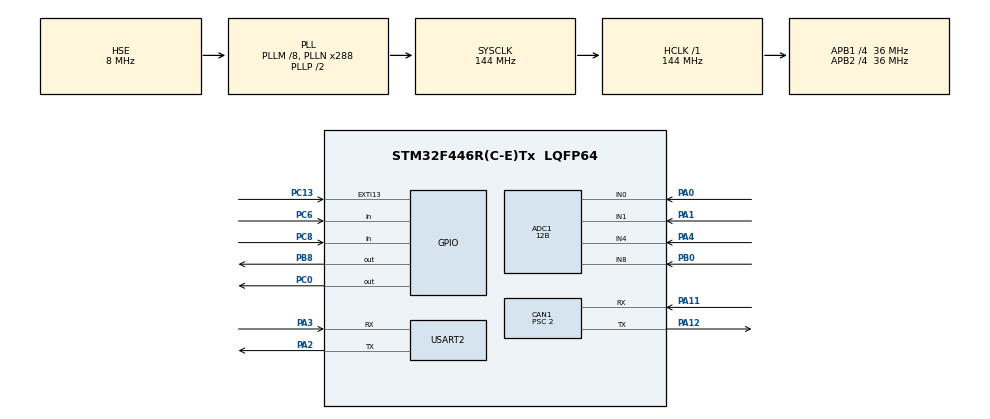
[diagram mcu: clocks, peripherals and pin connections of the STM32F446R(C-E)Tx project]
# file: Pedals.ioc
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Mcu.Family=STM32F4
NVIC.CAN1_RX1_IRQn=true\:0\:0\:false\:true\:true\:4\:true\:true
PH0-OSC_IN.Signal=RCC_OSC_IN
RCC.CortexFreq_Value=144000000
CAN1.AutoWakeUp=ENABLE
ADC1.ContinuousConvMode=ENABLE
CAN1.AWUM=ENABLE
PA11.Mode=Master
PA11.GPIO_PuPd=GPIO_PULLUP
RCC.SYSCLKSource=RCC_SYSCLKSOURCE_PLLCLK
ProjectManager.StackSize=0x400
VP_TIM7_VS_ClockSourceINT.Mode=Enable_Timer
NVIC.ADC_IRQn=true\:0\:0\:false\:true\:true\:1\:true\:true
PA12.Signal=CAN1_TX
NVIC.CAN1_TX_IRQn=true\:0\:0\:false\:true\:true\:2\:true\:true
RCC.HCLKFreq_Value=144000000
ADC1.Resolution=ADC_RESOLUTION_12B
RCC.APB2TimFreq_Value=72000000
TIM3.Period=1000
Dma.ADC1.0.Direction=DMA_PERIPH_TO_MEMORY
ADC1.Channel-2\#ChannelRegularConversion=ADC_CHANNEL_8
ADC1.InjNumberOfConversion=0
TIM7.Period=1000
NVIC.DMA2_Stream0_IRQn=true\:0\:0\:false\:false\:true\:false\:true
NVIC.CAN1_SCE_IRQn=true\:0\:0\:false\:true\:true\:5\:true\:true
Dma.ADC1.0.MemDataAlignment=DMA_MDATAALIGN_WORD
RCC.AHBFreq_Value=144000000
PH0-OSC_IN.Mode=HSE-External-Clock-Source
NVIC.EXTI15_10_IRQn=true\:0\:0\:false\:false\:true\:true\:true
ADC1.Channel-0\#ChannelRegularConversion=ADC_CHANNEL_0
RCC.HSE_VALUE=8000000
ADC1.ScanConvMode=ENABLE
ADC1.SamplingTime-4\#ChannelRegularConversion=ADC_SAMPLETIME_480CYCLES
ADC1.Rank-2\#ChannelRegularConversion=3
TIM3.Prescaler=42666
Dma.ADC1.0.PeriphInc=DMA_PINC_DISABLE
SH.ADCx_IN8.0=ADC1_IN8,IN8
SH.ADCx_IN0.0=ADC1_IN0,IN0
ADC1.SamplingTime-0\#ChannelRegularConversion=ADC_SAMPLETIME_480CYCLES
PH1-OSC_OUT.Mode=HSE-External-Clock-Source
CAN1.Prescaler=2
Mcu.Package=LQFP64
USART2.VirtualMode=VM_ASYNC
PC6.GPIO_PuPd=GPIO_PULLUP
RCC.APB2CLKDivider=RCC_HCLK_DIV4
SH.ADCx_IN1.0=ADC1_IN1,IN1
RCC.APB1TimFreq_Value=72000000
Dma.ADC1.0.FIFOMode=DMA_FIFOMODE_DISABLE
Dma.Request0=ADC1
CAN1.CalculateTimeBit=1000
ADC1.EOCSelection=ADC_EOC_SINGLE_CONV
NVIC.TIM7_IRQn=true\:0\:0\:false\:true\:true\:7\:true\:true
VP_TIM3_VS_ClockSourceINT.Mode=Internal
ADC1.Rank-4\#ChannelRegularConversion=4
PA3.Signal=USART2_RX
CAN1.CalculateTimeQuantum=55.55555555555556
RCC.PLLSourceVirtual=RCC_PLLSOURCE_HSE
Dma.ADC1.0.Instance=DMA2_Stream0
ADC1.Rank-0\#ChannelRegularConversion=1
ADC1.Channel-4\#ChannelRegularConversion=ADC_CHANNEL_4
PC13.Signal=GPXTI13
PC8.Signal=GPIO_Input
PC6.Signal=GPIO_Input
ADC1.DiscontinuousConvMode=DISABLE
ADC1.ExternalTrigConvEdge=ADC_EXTERNALTRIGCONVEDGE_NONE
PC0.Signal=GPIO_Output
RCC.APB1CLKDivider=RCC_HCLK_DIV4
ADC1.SamplingTime-2\#ChannelRegularConversion=ADC_SAMPLETIME_480CYCLES
PA0-WKUP.Signal=ADCx_IN0
PA3.Mode=Asynchronous
Dma.ADC1.0.PeriphDataAlignment=DMA_PDATAALIGN_WORD
CAN1.BS2=CAN_BS2_5TQ
CAN1.BS1=CAN_BS1_12TQ
ProjectManager.TargetToolchain=Makefile
Dma.ADC1.0.Mode=DMA_CIRCULAR
Dma.ADC1.0.Priority=DMA_PRIORITY_MEDIUM
ADC1.Channel-1\#ChannelRegularConversion=ADC_CHANNEL_1
RCC.USBFreq_Value=144000000
PA1.Signal=ADCx_IN1
TIM7.Prescaler=72
board=Pedals
RCC.VCOOutputFreq_Value=288000000
NVIC.TIM3_IRQn=true\:0\:0\:false\:true\:true\:6\:true\:true
ADC1.EnableAnalogWatchDog=false
RCC.APB2Freq_Value=36000000
PH1-OSC_OUT.Signal=RCC_OSC_OUT
SH.ADCx_IN4.0=ADC1_IN4,IN4
CAN1.TimeSeg1=CAN_BS1_12TQ
CAN1.TimeSeg2=CAN_BS2_5TQ
ADC1.DMAContinuousRequests=ENABLE
ADC1.NbrOfConversion=4
Mcu.Name=STM32F446R(C-E)Tx
PA2.Signal=USART2_TX
ADC1.ExternalTrigConv=ADC_SOFTWARE_START
PA4.Signal=ADCx_IN4
ADC1.SamplingTime-1\#ChannelRegularConversion=ADC_SAMPLETIME_480CYCLES
RCC.SYSCLKFreq_VALUE=144000000
ADC1.master=1
PA12.Mode=Master
ADC1.Rank-1\#ChannelRegularConversion=2
PA11.Signal=CAN1_RX
Dma.ADC1.0.MemInc=DMA_MINC_ENABLE
ProjectManager.HeapSize=0x200
NVIC.PriorityGroup=NVIC_PRIORITYGROUP_4
ADC1.NbrOfConversionFlag=1
RCC.PLLM=8
RCC.PLLN=288
PB8.Signal=GPIO_Output
PA2.Mode=Asynchronous
ADC1.DataAlign=ADC_DATAALIGN_RIGHT
RCC.APB1Freq_Value=36000000
PB0.Signal=ADCx_IN8
ADC1.ClockPrescaler=ADC_CLOCK_SYNC_PCLK_DIV2
NVIC.CAN1_RX0_IRQn=true\:0\:0\:false\:true\:true\:3\:true\:true

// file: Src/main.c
/* USER CODE BEGIN Header */
/**
  ******************************************************************************
  * @file           : main.c
  * @brief          : Main program body
  ******************************************************************************
  * @attention
  *
  * <h2><center>&copy; Copyright (c) 2019 STMicroelectronics.
  * All rights reserved.</center></h2>
  *
  * This software component is licensed by ST under BSD 3-Clause license,
  * the "License"; You may not use this file except in compliance with the
  * License. You may obtain a copy of the License at:
  *                        opensource.org/licenses/BSD-3-Clause
  *
  ******************************************************************************
  */
/* USER CODE END Header */

#include "main.h"

/* USER CODE BEGIN Includes */
#include "stm32f4xx_hal_gpio.h"
#include "Eagle_TRT.h"
#include "stm32f4xx_it.h"
#include <string.h>
#include <math.h>
#include <stdlib.h>
#include <inttypes.h>
/* USER CODE END Includes */

ADC_HandleTypeDef hadc1;
DMA_HandleTypeDef hdma_adc1;

CAN_HandleTypeDef hcan1;

TIM_HandleTypeDef htim3;
TIM_HandleTypeDef htim7;

UART_HandleTypeDef huart2;

/* USER CODE BEGIN PV */
/* Private variables ---------------------------------------------------------*/

#define DEGUB 1
#define DEBUG_DELAY 400

extern pot_stc pot_1;
extern pot_stc pot_2;
extern pot_stc pot_3;
extern pot_stc pot_4;
extern can_stc can;

int val0_100, val1_100, val2_100, Error, SCS, SCS1, SCS_Send, SCS_Send_real, Time1, Time2, fake_i, check, flag;
int fake_min0 = 60000, fake_max0 = 0;
int fake_min1 = 60000, fake_max1 = 0;

uint32_t valMax0, valMin0, valMax1, valMin1, valMax2, valMin2, val0rang, val1rang, val2rang;
uint32_t ADC_buffer[4], val[4];

uint8_t conv_compleated = 0;

CAN_FilterTypeDef sFilter;

uint8_t CheckControl[4];

char txt[500];

int pc6 = 0;

int command_flag = 0;

int steer_wheel_prescaler;

uint16_t sample_counter = 0;
uint16_t sample_per_sec = 0;

/* USER CODE END PV */

void SystemClock_Config(void);
static void MX_GPIO_Init(void);
static void MX_DMA_Init(void);
static void MX_USART2_UART_Init(void);
static void MX_ADC1_Init(void);
static void MX_TIM3_Init(void);
static void MX_CAN1_Init(void);
static void MX_TIM7_Init(void);
static void MX_NVIC_Init(void);
/* USER CODE BEGIN PFP */
/* Private function prototypes -----------------------------------------------*/

/* USER CODE END PFP */

/* USER CODE BEGIN 0 */
void HAL_ADC_ConvCpltCallback(ADC_HandleTypeDef *hadc)
{
  pot_1.val = ADC_buffer[0];
  pot_2.val = ADC_buffer[1];
  pot_3.val = ADC_buffer[2];
  pot_4.val = ADC_buffer[3];

  conv_compleated = 1;
}
void print_Max_Min()
{
  if (fake_min0 >= pot_1.val)
  {
    fake_min0 = pot_1.val;
  }
  if (fake_max0 <= pot_1.val)
  {
    fake_max0 = pot_1.val;
  }
  if (fake_min1 >= pot_2.val)
  {
    fake_min1 = pot_2.val;
  }
  if (fake_max1 <= pot_2.val)
  {
    fake_max1 = pot_2.val;
  }
  sprintf(txt, "valMIN0 = %d valMAX0 = %d \t valMIN1 = %d valMAX1 = %d val0 = %d val1 = %d val0_100 = %d val1_100 = %d \r\n", fake_min0, fake_max0, fake_min1, fake_max1, (int)pot_1.val, (int)pot_2.val, (int)pot_1.val_100, (int)pot_2.val_100);
  HAL_UART_Transmit(&huart2, (uint8_t *)txt, strlen(txt), 10);
}

/* USER CODE END 0 */

int main(void)
{
  /* USER CODE BEGIN 1 */

  val[1] = 0;

  Error = 0;

  CheckControl[0] = 0;
  CheckControl[1] = 0;
  CheckControl[2] = 0;
  CheckControl[3] = 0;

  /* USER CODE END 1 */

  /* MCU Configuration--------------------------------------------------------*/

  /* Reset of all peripherals, Initializes the Flash interface and the Systick. */
  HAL_Init();

  /* Configure the system clock */
  SystemClock_Config();

  /* Initialize all configured peripherals */
  MX_GPIO_Init();
  MX_DMA_Init();
  MX_USART2_UART_Init();
  MX_ADC1_Init();
  MX_TIM3_Init();
  MX_CAN1_Init();
  MX_TIM7_Init();

  /* Initialize interrupts */
  MX_NVIC_Init();
  /* USER CODE BEGIN 2 */

  sFilter.FilterMode = CAN_FILTERMODE_IDMASK;
  sFilter.FilterIdLow = 0;
  sFilter.FilterIdHigh = 0;
  sFilter.FilterMaskIdHigh = 0;
  sFilter.FilterMaskIdLow = 0;
  sFilter.FilterFIFOAssignment = CAN_FILTER_FIFO0;
  sFilter.FilterBank = 0;
  sFilter.FilterScale = CAN_FILTERSCALE_16BIT;
  sFilter.FilterActivation = ENABLE;
  HAL_CAN_ConfigFilter(&hcan1, &sFilter);

  HAL_CAN_Start(&hcan1);

  HAL_CAN_ActivateNotification(&hcan1, CAN1_RX0_IRQn);
  HAL_CAN_ActivateNotification(&hcan1, CAN1_RX1_IRQn);

  HAL_TIM_Base_Start(&htim3);
  HAL_TIM_Base_Start(&htim7);
  HAL_TIM_Base_Start_IT(&htim7);

  pot_1.TimerInstance = &htim3;
  can.hcan = &hcan1;

  steer_wheel_prescaler = 0;

  //HAL_TIM_Base_Start(&htim2);
  pot_1.max = 2670;
  pot_1.min = 2400; //released
  pot_1.range = abs(pot_1.max - pot_1.min);
  pot_2.max = 802;
  pot_2.min = 575; //released
  pot_2.range = abs(pot_2.max - pot_2.min);

  // Brake pressure sensor value ranges:
  // Aviorace SP100
  //  409.6 -> 0 bar
  //  3686.4 -> 100 bar
  //  3276.8 -> 0_____100 bar
  pot_3.min = 410;
  pot_3.max = 4096;
  pot_3.range = abs(pot_3.max - pot_3.min);
  pot_4.min = 410;
  pot_4.max = 4096;
  pot_4.range = abs(pot_4.max - pot_4.min);

  check = 0;
  fake_i = 0;

  /* USER CODE END 2 */

  /* Infinite loop */
  /* USER CODE BEGIN WHILE */
  uint32_t tick = HAL_GetTick();
  uint32_t previous_millis = tick;
  while (1)
  {
    /* USER CODE END WHILE */

    /* USER CODE BEGIN 3 */

    tick = HAL_GetTick();

    //SCS = 0;
    SCS_Send = 0;
    SCS_Send_real = 0;

    if(conv_compleated){
        calc_pot_value(&pot_1);
        calc_pot_value(&pot_2);
        calc_pot_value(&pot_3);
        calc_pot_value(&pot_4);
        conv_compleated = 0;
    }

    // If CAN is free from important messages, send data
    if (previous_millis != tick)
    {
      send_CAN_data(tick);
      previous_millis = tick;

      // Getting if breaking
      // Activate brake LED
      if (HAL_GPIO_ReadPin(GPIOC, GPIO_PIN_6) == GPIO_PIN_SET)
      {
        pc6 = 100;
        HAL_GPIO_WritePin(GPIOC, GPIO_PIN_0, GPIO_PIN_SET);
      }
      else
      {
        pc6 = 0;
        HAL_GPIO_WritePin(GPIOC, GPIO_PIN_0, GPIO_PIN_RESET);
      }

      if(DEGUB){
        if(tick % 1000 == 0){
          sample_per_sec = sample_counter;
          sample_counter = 0;
        }
        if(tick % DEBUG_DELAY == 0){
          full_debug();
        }
      }
    }

  }

  /* USER CODE END 3 */
}

void SystemClock_Config(void)
{
  RCC_OscInitTypeDef RCC_OscInitStruct = {0};
  RCC_ClkInitTypeDef RCC_ClkInitStruct = {0};

  /** Configure the main internal regulator output voltage
  */
  __HAL_RCC_PWR_CLK_ENABLE();
  __HAL_PWR_VOLTAGESCALING_CONFIG(PWR_REGULATOR_VOLTAGE_SCALE1);
  /** Initializes the CPU, AHB and APB busses clocks
  */
  RCC_OscInitStruct.OscillatorType = RCC_OSCILLATORTYPE_HSE;
  RCC_OscInitStruct.HSEState = RCC_HSE_BYPASS;
  RCC_OscInitStruct.PLL.PLLState = RCC_PLL_ON;
  RCC_OscInitStruct.PLL.PLLSource = RCC_PLLSOURCE_HSE;
  RCC_OscInitStruct.PLL.PLLM = 8;
  RCC_OscInitStruct.PLL.PLLN = 288;
  RCC_OscInitStruct.PLL.PLLP = RCC_PLLP_DIV2;
  RCC_OscInitStruct.PLL.PLLQ = 2;
  RCC_OscInitStruct.PLL.PLLR = 2;
  if (HAL_RCC_OscConfig(&RCC_OscInitStruct) != HAL_OK)
  {
    Error_Handler();
  }
  /** Initializes the CPU, AHB and APB busses clocks
  */
  RCC_ClkInitStruct.ClockType = RCC_CLOCKTYPE_HCLK|RCC_CLOCKTYPE_SYSCLK
                              |RCC_CLOCKTYPE_PCLK1|RCC_CLOCKTYPE_PCLK2;
  RCC_ClkInitStruct.SYSCLKSource = RCC_SYSCLKSOURCE_PLLCLK;
  RCC_ClkInitStruct.AHBCLKDivider = RCC_SYSCLK_DIV1;
  RCC_ClkInitStruct.APB1CLKDivider = RCC_HCLK_DIV4;
  RCC_ClkInitStruct.APB2CLKDivider = RCC_HCLK_DIV4;

  if (HAL_RCC_ClockConfig(&RCC_ClkInitStruct, FLASH_LATENCY_4) != HAL_OK)
  {
    Error_Handler();
  }
}

/**
  * @brief NVIC Configuration.
  * @retval None
  */
static void MX_NVIC_Init(void)
{
  /* ADC_IRQn interrupt configuration */
  HAL_NVIC_SetPriority(ADC_IRQn, 0, 0);
  HAL_NVIC_EnableIRQ(ADC_IRQn);
  /* CAN1_TX_IRQn interrupt configuration */
  HAL_NVIC_SetPriority(CAN1_TX_IRQn, 0, 0);
  HAL_NVIC_EnableIRQ(CAN1_TX_IRQn);
  /* CAN1_RX0_IRQn interrupt configuration */
  HAL_NVIC_SetPriority(CAN1_RX0_IRQn, 0, 0);
  HAL_NVIC_EnableIRQ(CAN1_RX0_IRQn);
  /* CAN1_RX1_IRQn interrupt configuration */
  HAL_NVIC_SetPriority(CAN1_RX1_IRQn, 0, 0);
  HAL_NVIC_EnableIRQ(CAN1_RX1_IRQn);
  /* CAN1_SCE_IRQn interrupt configuration */
  HAL_NVIC_SetPriority(CAN1_SCE_IRQn, 0, 0);
  HAL_NVIC_EnableIRQ(CAN1_SCE_IRQn);
  /* TIM3_IRQn interrupt configuration */
  HAL_NVIC_SetPriority(TIM3_IRQn, 0, 0);
  HAL_NVIC_EnableIRQ(TIM3_IRQn);
  /* TIM7_IRQn interrupt configuration */
  HAL_NVIC_SetPriority(TIM7_IRQn, 0, 0);
  HAL_NVIC_EnableIRQ(TIM7_IRQn);
}

static void MX_ADC1_Init(void)
{

  ADC_ChannelConfTypeDef sConfig = {0};

  /** Configure the global features of the ADC (Clock, Resolution, Data Alignment and number of conversion)
  */
  hadc1.Instance = ADC1;
  hadc1.Init.ClockPrescaler = ADC_CLOCK_SYNC_PCLK_DIV2;
  hadc1.Init.Resolution = ADC_RESOLUTION_12B;
  hadc1.Init.ScanConvMode = ENABLE;
  hadc1.Init.ContinuousConvMode = ENABLE;
  hadc1.Init.DiscontinuousConvMode = DISABLE;
  hadc1.Init.ExternalTrigConvEdge = ADC_EXTERNALTRIGCONVEDGE_NONE;
  hadc1.Init.ExternalTrigConv = ADC_SOFTWARE_START;
  hadc1.Init.DataAlign = ADC_DATAALIGN_RIGHT;
  hadc1.Init.NbrOfConversion = 4;
  hadc1.Init.DMAContinuousRequests = ENABLE;
  hadc1.Init.EOCSelection = ADC_EOC_SINGLE_CONV;
  if (HAL_ADC_Init(&hadc1) != HAL_OK)
  {
    Error_Handler();
  }
  /** Configure for the selected ADC regular channel its corresponding rank in the sequencer and its sample time.
  */
  sConfig.Channel = ADC_CHANNEL_0;
  sConfig.Rank = 1;
  sConfig.SamplingTime = ADC_SAMPLETIME_480CYCLES;
  if (HAL_ADC_ConfigChannel(&hadc1, &sConfig) != HAL_OK)
  {
    Error_Handler();
  }
  /** Configure for the selected ADC regular channel its corresponding rank in the sequencer and its sample time.
  */
  sConfig.Channel = ADC_CHANNEL_1;
  sConfig.Rank = 2;
  if (HAL_ADC_ConfigChannel(&hadc1, &sConfig) != HAL_OK)
  {
    Error_Handler();
  }
  /** Configure for the selected ADC regular channel its corresponding rank in the sequencer and its sample time.
  */
  sConfig.Channel = ADC_CHANNEL_8;
  sConfig.Rank = 3;
  if (HAL_ADC_ConfigChannel(&hadc1, &sConfig) != HAL_OK)
  {
    Error_Handler();
  }
  /** Configure for the selected ADC regular channel its corresponding rank in the sequencer and its sample time.
  */
  sConfig.Channel = ADC_CHANNEL_4;
  sConfig.Rank = 4;
  if (HAL_ADC_ConfigChannel(&hadc1, &sConfig) != HAL_OK)
  {
    Error_Handler();
  }

}

static void MX_CAN1_Init(void)
{

  hcan1.Instance = CAN1;
  hcan1.Init.Prescaler = 2;
  hcan1.Init.Mode = CAN_MODE_NORMAL;
  hcan1.Init.SyncJumpWidth = CAN_SJW_1TQ;
  hcan1.Init.TimeSeg1 = CAN_BS1_12TQ;
  hcan1.Init.TimeSeg2 = CAN_BS2_5TQ;
  hcan1.Init.TimeTriggeredMode = DISABLE;
  hcan1.Init.AutoBusOff = DISABLE;
  hcan1.Init.AutoWakeUp = ENABLE;
  hcan1.Init.AutoRetransmission = DISABLE;
  hcan1.Init.ReceiveFifoLocked = DISABLE;
  hcan1.Init.TransmitFifoPriority = DISABLE;
  if (HAL_CAN_Init(&hcan1) != HAL_OK)
  {
    Error_Handler();
  }

}

static void MX_TIM3_Init(void)
{

  TIM_ClockConfigTypeDef sClockSourceConfig = {0};
  TIM_MasterConfigTypeDef sMasterConfig = {0};

  htim3.Instance = TIM3;
  htim3.Init.Prescaler = 42666;
  htim3.Init.CounterMode = TIM_COUNTERMODE_UP;
  htim3.Init.Period = 1000;
  htim3.Init.ClockDivision = TIM_CLOCKDIVISION_DIV1;
  htim3.Init.AutoReloadPreload = TIM_AUTORELOAD_PRELOAD_DISABLE;
  if (HAL_TIM_Base_Init(&htim3) != HAL_OK)
  {
    Error_Handler();
  }
  sClockSourceConfig.ClockSource = TIM_CLOCKSOURCE_INTERNAL;
  if (HAL_TIM_ConfigClockSource(&htim3, &sClockSourceConfig) != HAL_OK)
  {
    Error_Handler();
  }
  sMasterConfig.MasterOutputTrigger = TIM_TRGO_RESET;
  sMasterConfig.MasterSlaveMode = TIM_MASTERSLAVEMODE_DISABLE;
  if (HAL_TIMEx_MasterConfigSynchronization(&htim3, &sMasterConfig) != HAL_OK)
  {
    Error_Handler();
  }

}

static void MX_TIM7_Init(void)
{

  TIM_MasterConfigTypeDef sMasterConfig = {0};

  htim7.Instance = TIM7;
  htim7.Init.Prescaler = 72;
  htim7.Init.CounterMode = TIM_COUNTERMODE_UP;
  htim7.Init.Period = 1000;
  htim7.Init.AutoReloadPreload = TIM_AUTORELOAD_PRELOAD_DISABLE;
  if (HAL_TIM_Base_Init(&htim7) != HAL_OK)
  {
    Error_Handler();
  }
  sMasterConfig.MasterOutputTrigger = TIM_TRGO_RESET;
  sMasterConfig.MasterSlaveMode = TIM_MASTERSLAVEMODE_DISABLE;
  if (HAL_TIMEx_MasterConfigSynchronization(&htim7, &sMasterConfig) != HAL_OK)
  {
    Error_Handler();
  }

}

static void MX_USART2_UART_Init(void)
{

  huart2.Instance = USART2;
  huart2.Init.BaudRate = 115200;
  huart2.Init.WordLength = UART_WORDLENGTH_8B;
  huart2.Init.StopBits = UART_STOPBITS_1;
  huart2.Init.Parity = UART_PARITY_NONE;
  huart2.Init.Mode = UART_MODE_TX_RX;
  huart2.Init.HwFlowCtl = UART_HWCONTROL_NONE;
  huart2.Init.OverSampling = UART_OVERSAMPLING_16;
  if (HAL_UART_Init(&huart2) != HAL_OK)
  {
    Error_Handler();
  }

}

static void MX_DMA_Init(void)
{

  /* DMA controller clock enable */
  __HAL_RCC_DMA2_CLK_ENABLE();

  /* DMA interrupt init */
  /* DMA2_Stream0_IRQn interrupt configuration */
  HAL_NVIC_SetPriority(DMA2_Stream0_IRQn, 0, 0);
  HAL_NVIC_EnableIRQ(DMA2_Stream0_IRQn);

}

static void MX_GPIO_Init(void)
{
  GPIO_InitTypeDef GPIO_InitStruct = {0};

  /* GPIO Ports Clock Enable */
  __HAL_RCC_GPIOC_CLK_ENABLE();
  __HAL_RCC_GPIOH_CLK_ENABLE();
  __HAL_RCC_GPIOA_CLK_ENABLE();
  __HAL_RCC_GPIOB_CLK_ENABLE();

  /*Configure GPIO pin Output Level */
  HAL_GPIO_WritePin(GPIOC, GPIO_PIN_0, GPIO_PIN_RESET);

  /*Configure GPIO pin Output Level */
  HAL_GPIO_WritePin(GPIOB, GPIO_PIN_8, GPIO_PIN_RESET);

  /*Configure GPIO pin : PC13 */
  GPIO_InitStruct.Pin = GPIO_PIN_13;
  GPIO_InitStruct.Mode = GPIO_MODE_IT_RISING;
  GPIO_InitStruct.Pull = GPIO_NOPULL;
  HAL_GPIO_Init(GPIOC, &GPIO_InitStruct);

  /*Configure GPIO pin : PC0 */
  GPIO_InitStruct.Pin = GPIO_PIN_0;
  GPIO_InitStruct.Mode = GPIO_MODE_OUTPUT_PP;
  GPIO_InitStruct.Pull = GPIO_NOPULL;
  GPIO_InitStruct.Speed = GPIO_SPEED_FREQ_LOW;
  HAL_GPIO_Init(GPIOC, &GPIO_InitStruct);

  /*Configure GPIO pin : PC6 */
  GPIO_InitStruct.Pin = GPIO_PIN_6;
  GPIO_InitStruct.Mode = GPIO_MODE_INPUT;
  GPIO_InitStruct.Pull = GPIO_PULLUP;
  HAL_GPIO_Init(GPIOC, &GPIO_InitStruct);

  /*Configure GPIO pin : PC8 */
  GPIO_InitStruct.Pin = GPIO_PIN_8;
  GPIO_InitStruct.Mode = GPIO_MODE_INPUT;
  GPIO_InitStruct.Pull = GPIO_NOPULL;
  HAL_GPIO_Init(GPIOC, &GPIO_InitStruct);

  /*Configure GPIO pin : PB8 */
  GPIO_InitStruct.Pin = GPIO_PIN_8;
  GPIO_InitStruct.Mode = GPIO_MODE_OUTPUT_PP;
  GPIO_InitStruct.Pull = GPIO_NOPULL;
  GPIO_InitStruct.Speed = GPIO_SPEED_FREQ_LOW;
  HAL_GPIO_Init(GPIOB, &GPIO_InitStruct);

  /* EXTI interrupt init*/
  HAL_NVIC_SetPriority(EXTI15_10_IRQn, 0, 0);
  HAL_NVIC_EnableIRQ(EXTI15_10_IRQn);

}

/* USER CODE BEGIN 4 */

void HAL_CAN_RxFifo0FullCallback(CAN_HandleTypeDef *hcan)
{
  ///CALIBRATION CODE///
  int idsave = CAN_Receive(&can);

  if (idsave == 0xBB)
  {
    if ((can.dataRx[0] == 0) && (can.dataRx[1] == 0))
    {
      set_max(&pot_1);
      set_min(&pot_2);
      //CheckControl[0] = 1;
      can.dataTx[0] = 0;
      can.dataTx[1] = 0;
      can.dataTx[2] = 0;
      can.dataTx[3] = 0;
      can.dataTx[4] = 0;
      can.dataTx[5] = 0;
      can.dataTx[6] = 0;
      can.dataTx[7] = 0;
      can.id = 0xBC;
      can.size = 8;
      CAN_Send(&can);
      check = 1;
    }
    if ((can.dataRx[0] == 0) && (can.dataRx[1] == 1))
    {
      set_min(&pot_1);
      set_max(&pot_2);
      //CheckControl[1] = 1;
      can.dataTx[0] = 0;
      can.dataTx[1] = 1;
      can.dataTx[2] = 0;
      can.dataTx[3] = 0;
      can.dataTx[4] = 0;
      can.dataTx[5] = 0;
      can.dataTx[6] = 0;
      can.dataTx[7] = 0;
      can.id = 0xBC;
      can.size = 8;
      CAN_Send(&can);
      check = 0;
    }
    //val0rang = abs(valMax0 - valMin0);
    //val1rang = abs(valMax1 - valMin1);
    pot_1.range = abs(pot_1.max - pot_1.min);
    pot_2.range = abs(pot_2.max - pot_2.min);
  }
}

void HAL_TIM_PeriodElapsedCallback(TIM_HandleTypeDef *htim)
{

  if(htim == &htim7){
    HAL_ADC_Start_DMA(&hadc1, ADC_buffer, 4);
    sample_counter ++;
  }
}

void send_CAN_data(uint32_t millis)
{

  if (millis % 10 == 0)
  {

    uint16_t front = pot_3.val_100 * 500;
    uint16_t back = pot_4.val_100 * 500;

    can.dataTx[0] = 0x02;
    can.dataTx[1] = pc6;
    can.dataTx[2] = front >> 8;
    can.dataTx[3] = steer_wheel_prescaler;
    can.dataTx[4] = front;
    can.dataTx[5] = back >> 8;
    can.dataTx[6] = SCS_Send;
    can.dataTx[7] = back;
    can.id = 0xB0;
    can.size = 8;
    CAN_Send(&can);
  }
  millis += 1;

  if (millis % 10 == 0)
  {

    if (check != 1)
    {
      can.dataTx[0] = 0x01;
      can.dataTx[1] = pot_2.val_100;
      can.dataTx[2] = pot_1.val_100;
      can.dataTx[3] = steer_wheel_prescaler;
      can.dataTx[4] = 0;
      can.dataTx[5] = 0;
      can.dataTx[6] = SCS_Send;
      can.dataTx[7] = 0;
      can.id = 0xB0;
      can.size = 8;
      CAN_Send(&can);
    }
  }
}

void full_debug(){
  // ALL DATA
  char* str = "\n\n________________________________________________________________________\r\n";
  HAL_UART_Transmit(&huart2, (uint8_t *)str, strlen(str), 10);
  str = "DATA\t\t\t| RAW\t\t\t| VALUE\r\n";
  HAL_UART_Transmit(&huart2, (uint8_t *)str, strlen(str), 10);

  // Encoder Raw Data
  sprintf(txt, "APPS1:\t\t\t| %d\t\t\t| %d.%d\r\n",
          pot_1.val,
          (int)(pot_1.val),
          decimals(pot_1.val_100));
  HAL_UART_Transmit(&huart2, (uint8_t *)txt, strlen(txt), 10);

  sprintf(txt, "APPS2:\t\t\t| %d\t\t\t| %d.%d\r\n",
          pot_2.val,
          (int)(pot_2.val),
          decimals(pot_2.val_100));
  HAL_UART_Transmit(&huart2, (uint8_t *)txt, strlen(txt), 10);

  sprintf(txt, "FRONT:\t\t\t| %d\t\t\t| %d.%d\r\n",
          pot_3.val,
          (int)(pot_3.val),
          decimals(pot_3.val_100));
  HAL_UART_Transmit(&huart2, (uint8_t *)txt, strlen(txt), 10);

  sprintf(txt, "REAR:\t\t\t| %d\t\t\t| %d.%d\r\n",
          pot_4.val,
          (int)(pot_4.val),
          decimals(pot_4.val_100));
  HAL_UART_Transmit(&huart2, (uint8_t *)txt, strlen(txt), 10);

  sprintf(txt, "Frequency:\t\t| %d\r\n",
          sample_per_sec);
  HAL_UART_Transmit(&huart2, (uint8_t *)txt, strlen(txt), 10);

  str = "________________________________________________________________________\r\n";
  HAL_UART_Transmit(&huart2, (uint8_t *)str, strlen(str), 10);
}

int decimals(double number){
  return abs(1000*(floor(number) - number));
}

/* USER CODE END 4 */

void Error_Handler(void)
{
  while (1)
  {
  }
}

/************************ (C) COPYRIGHT STMicroelectronics *****END OF FILE****/
